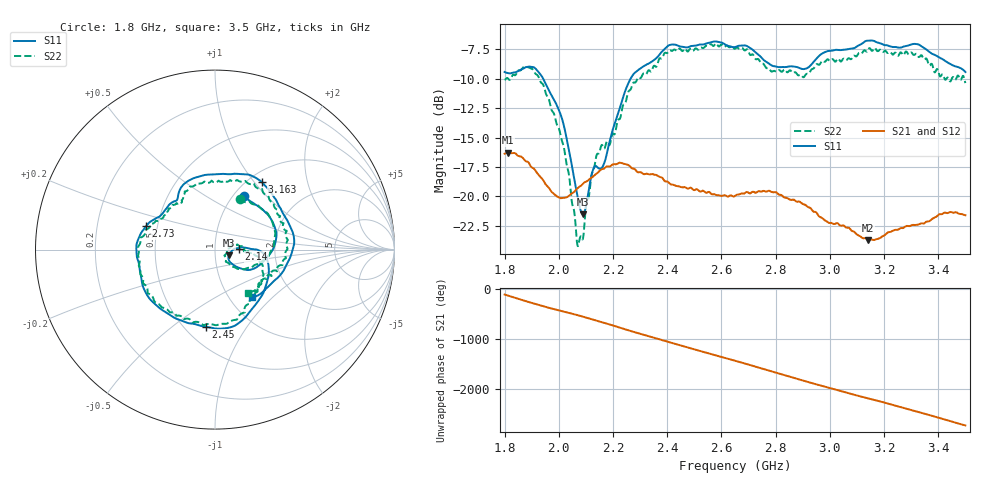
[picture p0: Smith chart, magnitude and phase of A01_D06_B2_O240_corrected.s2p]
! Created with skrf 1.9.0 (http://scikit-rf.org).
# Hz S RI R 50.0
!freq ReS11 ImS11 ReS21 ImS21 ReS12 ImS12 ReS22 ImS22
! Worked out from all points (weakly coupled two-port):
!   1601 points, 1.8 GHz to 3.5 GHz, reference 50 ohm
!   highest |S21| = -16.27 dB at 1.812 GHz (marker M1); lowest = -23.7 dB at 3.142 GHz (marker M2)
!   lowest |S11| = -21.5 dB at 2.089 GHz (marker M3), VSWR 1.18, Z = 58.3 - j3.67 ohm
!   |S11| at or under -10 dB: 1.943 GHz to 2.265 GHz (322 MHz wide, 15.3 % of centre)
!   |S22| runs from -24.2 to -7.0 dB; largest |S21 - S12| = 0.0025
!   S11 on the Smith chart (normalised r, x): 1.8 GHz: 1.12, +0.75; 2.14 GHz: 1.31, +0.01; 2.45 GHz: 0.63, -0.67; 2.73 GHz: 0.43, +0.13; 3.163 GHz: 1.15, +1.10; 3.5 GHz: 1.27, -0.76
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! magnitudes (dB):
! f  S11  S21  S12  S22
! 1.8 GHz  -9.4  -16.4  -16.4  -10.1
! 1.812 GHz  -9.5  -16.3  -16.3  -10.0
! 1.881 GHz  -9.0  -17.0  -17.0  -9.0
! 1.941 GHz  -10.0  -18.6  -18.6  -10.5
! 2.013 GHz  -13.5  -20.1  -20.1  -15.3
! 2.068 GHz  -19.8  -19.3  -19.3  -24.0
! 2.084 GHz  -21.4  -19.1  -19.0  -23.5
! 2.089 GHz  -21.5  -18.9  -18.9  -23.6
! 2.14 GHz  -17.5  -18.1  -18.0  -16.5
! 2.167 GHz  -17.2  -17.6  -17.6  -15.9
! 2.265 GHz  -10.0  -17.5  -17.5  -10.9
! 2.367 GHz  -8.1  -18.3  -18.2  -8.5
! 2.45 GHz  -7.3  -19.2  -19.2  -7.5
! 2.65 GHz  -7.3  -20.0  -19.9  -7.4
! 2.73 GHz  -7.8  -19.7  -19.7  -8.3
! 2.803 GHz  -9.0  -19.7  -19.7  -9.4
! 2.934 GHz  -8.7  -21.1  -21.1  -9.2
! 3.142 GHz  -6.8  -23.7  -23.6  -7.5
! 3.163 GHz  -6.8  -23.7  -23.7  -7.4
! 3.217 GHz  -7.2  -23.0  -23.0  -7.8
! 3.326 GHz  -7.1  -22.4  -22.4  -8.1
! 3.5 GHz  -9.4  -21.6  -21.6  -10.4
